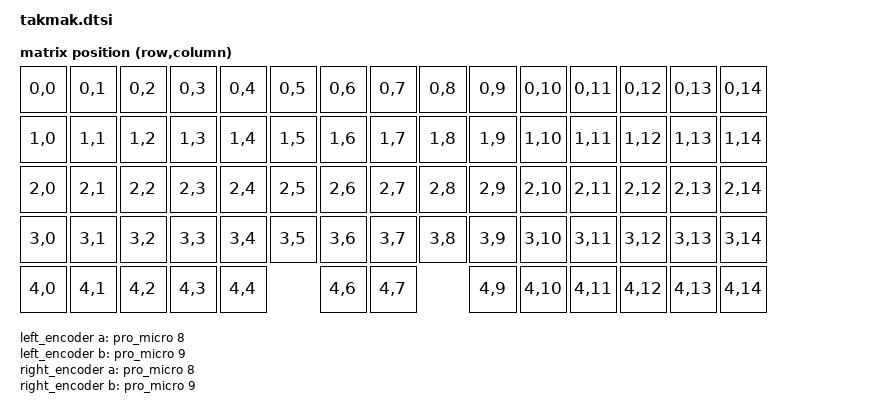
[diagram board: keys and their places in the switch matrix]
/*
 * Copyright (c) 2020 Pete Johanson
 *
 * SPDX-License-Identifier: MIT
 */

#include <dt-bindings/zmk/matrix_transform.h>
#include <dt-bindings/led/led.h>
#include "takmak-layouts.dtsi"

/ {
	chosen {
		zmk,kscan = &kscan0;
    zmk,physical-layout = &physical_layout0;
    zephyr,display = &oled;
    zmk,underglow = &led_strip;
    // zephyr,sram = &sram0;
    // zephyr,display = &st7789;
		// zmk,matrix_transform = &default_transform;
	};

  left_encoder: encoder_left {
      compatible = "alps,ec11";
      a-gpios = <&pro_micro 8 (GPIO_ACTIVE_HIGH | GPIO_PULL_UP)>;
      b-gpios = <&pro_micro 9 (GPIO_ACTIVE_HIGH | GPIO_PULL_UP)>;
      steps = <80>;
      status = "disabled";
  };

  right_encoder: encoder_right {
      compatible = "alps,ec11";
      a-gpios = <&pro_micro 8 (GPIO_ACTIVE_HIGH | GPIO_PULL_UP)>;
      b-gpios = <&pro_micro 9 (GPIO_ACTIVE_HIGH | GPIO_PULL_UP)>;
      steps = <80>;
      status = "disabled";
  };

  sensors: sensors {
      compatible = "zmk,keymap-sensors";
      sensors = <&left_encoder &right_encoder>;
      triggers-per-rotation = <10>;
  };

	default_transform: keymap_transform_0 {
		compatible = "zmk,matrix-transform";
		columns = <15>;
		rows = <5>;
		map = <
RC(0,0) RC(0,1) RC(0,2) RC(0,3) RC(0,4) RC(0,5) RC(0,6)  RC(0,7) RC(0,8) RC(0,9) RC(0,10) RC(0,11) RC(0,12) RC(0,13) RC(0,14)
RC(1,0) RC(1,1) RC(1,2) RC(1,3) RC(1,4) RC(1,5) RC(1,6)  RC(1,7) RC(1,8) RC(1,9) RC(1,10) RC(1,11) RC(1,12) RC(1,13) RC(1,14)
RC(2,0) RC(2,1) RC(2,2) RC(2,3) RC(2,4) RC(2,5) RC(2,6)  RC(2,7) RC(2,8) RC(2,9) RC(2,10) RC(2,11) RC(2,12) RC(2,13) RC(2,14)
RC(3,0) RC(3,1) RC(3,2) RC(3,3) RC(3,4) RC(3,5) RC(3,6)  RC(3,7) RC(3,8) RC(3,9) RC(3,10) RC(3,11) RC(3,12) RC(3,13) RC(3,14)
RC(4,0) RC(4,1) RC(4,2) RC(4,3) RC(4,4)         RC(4,6)  RC(4,7)         RC(4,9) RC(4,10) RC(4,11) RC(4,12) RC(4,13) RC(4,14)
		>;
	};

	kscan0: kscan {
		compatible = "zmk,kscan-gpio-matrix";
		label = "KSCAN";
    wakeup-source;

		diode-direction = "col2row";
	};
};

&physical_layout0 {
    kscan = <&kscan0>; // Label of the kscan node this layout uses
    transform = <&default_transform>; // Label of the matrix transform this layout uses
};

&pro_micro_i2c {
    status = "disabled";

    oled: ssd1306@3c {
        compatible = "solomon,ssd1306fb";
        reg = <0x3c>;
        width = <128>;
        height = <32>;
        segment-offset = <0>;
        page-offset = <0>;
        display-offset = <0>;
        multiplex-ratio = <31>;
        com-sequential;
        prechargep = <0x22>;
    };
};

// &spi1 {
//     status = "okay";
//     cs-gpios = <&gpio0 24 GPIO_ACTIVE_LOW>; // CS on P0.24
//     st7789: st7789@0 {
//         compatible = "sitronix,st7789";
//         reg = <0>;
//         spi-max-frequency = <4000000>;
//         width = <172>;
//         height = <320>;
//         reset-gpios = <&gpio0 23 GPIO_ACTIVE_LOW>; // RST on P0.23
//         dc-gpios = <&gpio0 22 GPIO_ACTIVE_LOW>;    // DC on P0.22
//         debug = <1>;
//         x-offset = <0>;
//         y-offset = <0>;
//         vcom = <0x1c>; // VCOM voltage
//         gctrl = <0x35>; // Gate control
//         mdac = <0x00>; // Memory data access control
//         lcm = <0x3c>; // LCM control
//         colmod = <0x55>; // Color mode
//         gamma = <0x01>; // Gamma setting
//         porch-param = <0x0c 0x0c 0x0c 0x0c>; // Porch parameters
//         cmd2en-param = <0x00 0x00 0x00 0x00>; // Command 2 enable parameters
//         pwctrl1-param = <0x23 0x23>; // Power control 1 parameters
//         pvgam-param = <0x0f 0x1a 0x1c 0x1d 0x1e 0x20 0x21 0x22
//                                     0x23 0x24 0x25 0x26 0x27 0x28 0x29>; // Positive voltage gamma parameters
//         nvgam-param = <0x0f 0x1a 0x1c 0x1d 0x1e 0x20 0x21 0x22
//                                     0x23 0x24 0x25 0x26 0x27 0x28 0x29>; // Negative voltage gamma parameters
//         ram-param = <0x00 0x00 0x00 0x00>; // RAM parameters
//         rgb-param = <0x00 0x00 0x00 0x00>; // RGB parameters
//     };
// };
